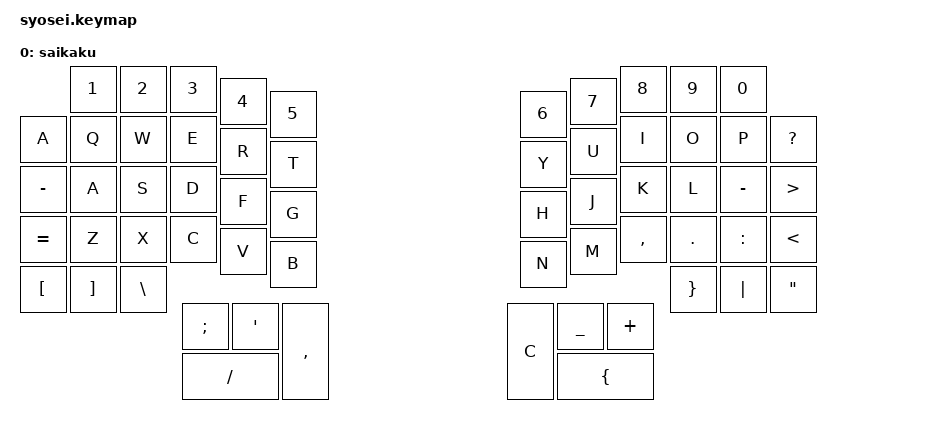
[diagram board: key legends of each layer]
#include <dt-bindings/zmk/modifiers.h>
#include <behaviors.dtsi>
#include <dt-bindings/zmk/bt.h>
#include <dt-bindings/zmk/keys.h>

/ {
    behaviors {
        sft_one_excl: sft_one_excl {
            compatible = "zmk,behavior-mod-morph";
            #binding-cells = <0>;
            bindings = <&kp N1>, <&kp EXCL>;

            mods = <(MOD_LSFT|MOD_RSFT)>;
        };

        sft_two_qmark: sft_two_qmark {
            compatible = "zmk,behavior-mod-morph";
            #binding-cells = <0>;
            bindings = <&kp N2>, <&kp QMARK>;

            mods = <(MOD_LSFT|MOD_RSFT)>;
        };
    };

keymap {
    compatible = "zmk,keymap";

    saikaku {
        bindings = <
            &kp FSLH  &kp N1  &kp NUMBER_2  &kp N3  &kp N4  &kp N5
            &kp A     &kp Q   &kp W          &kp E   &kp R   &kp T
            &kp MINUS &kp A   &kp S          &kp D   &kp F   &kp G
            &kp EQUAL &kp Z   &kp X          &kp C   &kp V   &kp B
            &kp LBKT  &kp RBKT &kp BSLH      &kp SEMI &kp SQT &kp COMMA

            &kp LBRC  &kp N0  &kp N9         &kp N8  &kp N7  &kp N6
            &kp QMARK &kp P   &kp O          &kp I   &kp U   &kp Y
            &kp GT    &kp MINUS &kp L        &kp K   &kp J   &kp H
            &kp LT    &kp COLON &kp DOT      &kp COMMA &kp M &kp N
            &kp DQT   &kp PIPE &kp RBRC      &kp PLUS &kp UNDER &kp C
        >;
    };
};
};
